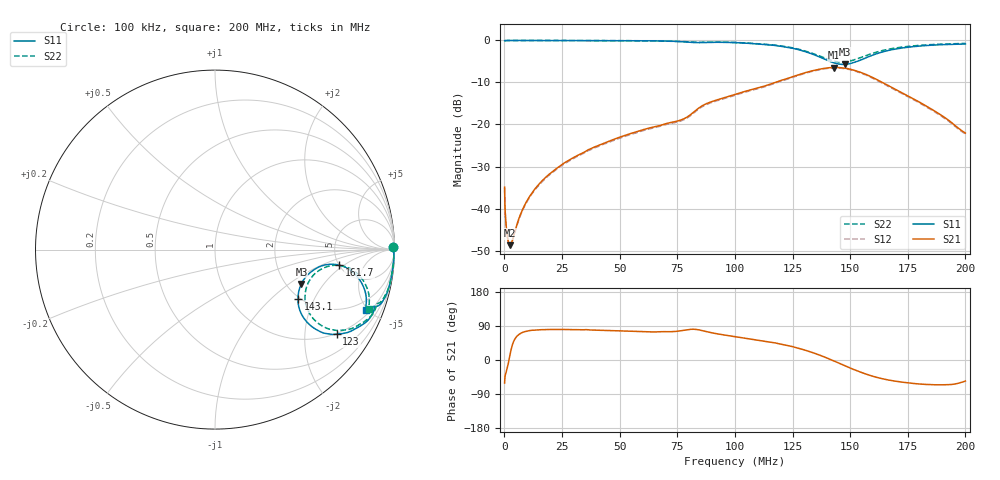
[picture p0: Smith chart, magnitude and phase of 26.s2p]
#  HZ  S  RI  R  50.00
! Rohde & Schwarz Vector Network Analyzer
! Rohde-Schwarz,ZNLE6-2Port,1323001256200024,1.71.1.10-23.02.1.238
! Created: UTC 4/8/2025, 2:17:32 AM
! freq[Hz]  re:S11  im:S11  re:S21  im:S21  re:S12  im:S12  re:S22  im:S22
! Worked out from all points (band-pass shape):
!   1001 points, 100 kHz to 200 MHz, reference 50 ohm
!   highest |S21| = -6.45 dB at 143.1 MHz (marker M1); lowest = -48.7 dB at 2.398 MHz (marker M2)
!   |S21| within 3 dB of the highest: 120.5 MHz to 162 MHz (41.59 MHz wide, 29.4 % of centre)
!   lowest |S11| = -5.7 dB at 147.6 MHz (marker M3), VSWR 3.15, Z = 120 - j62.5 ohm
!   |S11| at or under -10 dB: nowhere
!   |S22| runs from -5.2 to 0.0 dB; largest |S21 - S12| = 0.008
!   S11 on the Smith chart (normalised r, x): 100 kHz: open; 123 MHz: 0.98, -2.90; 143.1 MHz: 1.94, -1.51; 161.7 MHz: 5.00, -1.68; 200 MHz: 1.29, -4.87
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100000  0.9913 0.0155  0.00881 -0.0157  0.00857 -0.0153  0.9916 0.015
355854.1  0.993 0.00512  0.00697 -0.006  0.0068 -0.00586  0.9933 0.00503
1266322  0.9955 -0.00132  0.00443 -0.00169  0.00432 -0.00165  0.9956 -0.00124
1837784  0.996 -0.00406  0.00389 -0.000319  0.0038 -0.00031  0.9961 -0.00379
2397897  0.9963 -0.00644  0.00357 0.000793  0.00349 0.000776  0.9964 -0.006
3200882  0.9965 -0.00985  0.00329 0.00225  0.00324 0.00216  0.9969 -0.00868
4472136  0.9966 -0.0147  0.00304 0.00428  0.00301 0.00416  0.9971 -0.013
1.591428e7  0.9953 -0.058  0.00363 0.0205  0.00368 0.0199  0.9956 -0.0548
3.251501e7  0.9881 -0.1206  0.00772 0.0432  0.00838 0.042  0.9891 -0.114
5.663162e7  0.9666 -0.2179  0.0202 0.0783  0.0208 0.076  0.9693 -0.2061
7.617267e7  0.9168 -0.3078  0.0256 0.1091  0.0264 0.106  0.9267 -0.288
8.47254e7  0.8849 -0.3163  0.0301 0.1565  0.0312 0.1525  0.8984 -0.3027
1.024565e8  0.8431 -0.4024  0.121 0.2054  0.1199 0.2001  0.8559 -0.3833
1.139604e8  0.7679 -0.4492  0.1931 0.2197  0.1902 0.2145  0.7876 -0.4279
1.229601e8  0.6785 -0.4705  0.2774 0.2174  0.2729 0.213  0.7033 -0.4495
1.326705e8  0.5494 -0.4363  0.3981 0.158  0.3924 0.1553  0.5822 -0.416
1.431478e8  0.4624 -0.2764  0.475 -0.0254  0.4688 -0.027  0.5016 -0.2605
1.475668e8  0.4813 -0.191  0.4521 -0.1188  0.4452 -0.1201  0.5225 -0.1789
1.544525e8  0.5731 -0.0995  0.3547 -0.2201  0.3468 -0.2197  0.6155 -0.0983
1.616595e8  0.6909 -0.0865  0.2368 -0.2453  0.2291 -0.2436  0.722 -0.0936
1.770979e8  0.8187 -0.189  0.0972 -0.1799  0.0927 -0.1773  0.837 -0.1913
2e8  0.8418 -0.3362  0.0446 -0.065  0.043 -0.064  0.8594 -0.3283
